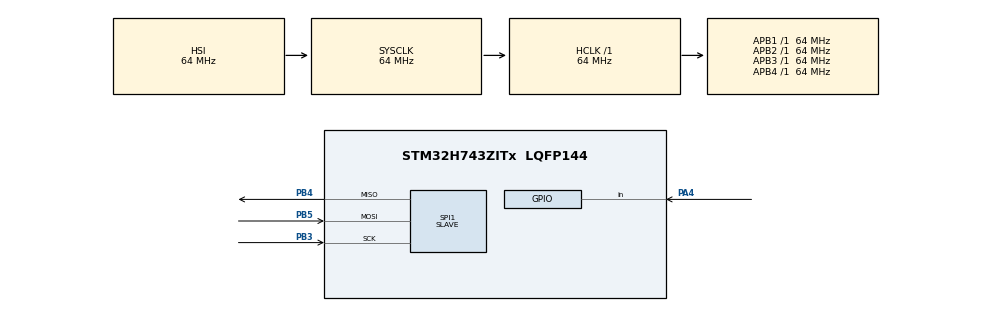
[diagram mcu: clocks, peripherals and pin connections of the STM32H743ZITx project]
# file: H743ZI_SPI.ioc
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Mcu.Family=STM32H7
Mcu.Name=STM32H743ZITx
Mcu.Package=LQFP144
NVIC.PriorityGroup=NVIC_PRIORITYGROUP_4
NVIC.SPI1_IRQn=true\:5\:0\:true\:false\:true\:true\:true\:true
PA4.GPIO_PuPd=GPIO_PULLUP
PA4.Signal=GPIO_Input
PB3\ (JTDO/TRACESWO).Mode=Full_Duplex_Slave
PB3\ (JTDO/TRACESWO).Signal=SPI1_SCK
PB4\ (NJTRST).Mode=Full_Duplex_Slave
PB4\ (NJTRST).Signal=SPI1_MISO
PB5.Mode=Full_Duplex_Slave
PB5.Signal=SPI1_MOSI
ProjectManager.HeapSize=0x200
ProjectManager.StackSize=0x400
ProjectManager.TargetToolchain=STM32CubeIDE
RCC.ADCFreq_Value=129000000
RCC.APB1Freq_Value=64000000
RCC.APB2Freq_Value=64000000
RCC.APB3Freq_Value=64000000
RCC.APB4Freq_Value=64000000
RCC.CortexFreq_Value=64000000
RCC.DIVM1=4
RCC.DIVN1=9
RCC.HCLKFreq_Value=64000000
RCC.PLLFRACN=3072
RCC.SYSCLKFreq_VALUE=64000000
RCC.USBFreq_Value=75000000
SPI1.CRCCalculation=SPI_CRCCALCULATION_ENABLE
SPI1.CRCLength=SPI_CRC_LENGTH_8BIT
SPI1.DataSize=SPI_DATASIZE_8BIT
SPI1.Direction=SPI_DIRECTION_2LINES
SPI1.FifoThreshold=SPI_FIFO_THRESHOLD_08DATA
SPI1.FirstBit=SPI_FIRSTBIT_MSB
SPI1.MasterKeepIOState=SPI_MASTER_KEEP_IO_STATE_ENABLE
SPI1.Mode=SPI_MODE_SLAVE
SPI1.VirtualType=VM_SLAVE
board=custom

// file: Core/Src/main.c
/* USER CODE BEGIN Header */
/**
  ******************************************************************************
  * @file           : main.c
  * @brief          : Main program body
  ******************************************************************************
  * @attention
  *
  * Copyright (c) 2026 STMicroelectronics.
  * All rights reserved.
  *
  * This software is licensed under terms that can be found in the LICENSE file
  * in the root directory of this software component.
  * If no LICENSE file comes with this software, it is provided AS-IS.
  *
  ******************************************************************************
  */
/* USER CODE END Header */
#include "main.h"

SPI_HandleTypeDef hspi1;

/* USER CODE BEGIN PV */
volatile uint8_t dataRx[10] = {0xFF};
volatile uint8_t rxCnt = 0;
/* USER CODE END PV */

void SystemClock_Config(void);
static void MX_GPIO_Init(void);
static void MX_SPI1_Init(void);

int main(void)
{

  /* MCU Configuration--------------------------------------------------------*/

  /* Reset of all peripherals, Initializes the Flash interface and the Systick. */
  HAL_Init();

  /* Configure the system clock */
  SystemClock_Config();

  /* Initialize all configured peripherals */
  MX_GPIO_Init();
  MX_SPI1_Init();
  /* USER CODE BEGIN 2 */

  memset((uint8_t *)dataRx, 0x55, sizeof(dataRx));
  HAL_SPI_Transmit_IT(&hspi1,(uint8_t *) dataRx, sizeof(dataRx));
  //HAL_SPI_Receive_IT(&hspi1,(uint8_t *) dataRx, sizeof(dataRx));
  //HAL_SPI_Receive(&hspi1, (uint8_t *)dataRx, sizeof(dataRx), 10000);
  /* USER CODE END 2 */

  /* Infinite loop */
  /* USER CODE BEGIN WHILE */
  while (1)
  {
	  //HAL_SPI_Receive(&hspi1, dataRx, sizeof(dataRx), 100);
	  if(rxCnt == 1)
	  {
		  rxCnt = 0;
		  HAL_Delay(100);
		  memset((uint8_t *)dataRx, 0x55, sizeof(dataRx));
		  HAL_SPI_Transmit_IT(&hspi1,(uint8_t *) dataRx, sizeof(dataRx));
		  //HAL_SPI_Receive_IT(&hspi1, (uint8_t *)dataRx, sizeof(dataRx));
	  }
    /* USER CODE END WHILE */

  }
}

void SystemClock_Config(void)
{
  RCC_OscInitTypeDef RCC_OscInitStruct = {0};
  RCC_ClkInitTypeDef RCC_ClkInitStruct = {0};

  /** Supply configuration update enable
  */
  HAL_PWREx_ConfigSupply(PWR_LDO_SUPPLY);

  /** Configure the main internal regulator output voltage
  */
  __HAL_PWR_VOLTAGESCALING_CONFIG(PWR_REGULATOR_VOLTAGE_SCALE3);

  while(!__HAL_PWR_GET_FLAG(PWR_FLAG_VOSRDY)) {}

  /** Initializes the RCC Oscillators according to the specified parameters
  * in the RCC_OscInitTypeDef structure.
  */
  RCC_OscInitStruct.OscillatorType = RCC_OSCILLATORTYPE_HSI;
  RCC_OscInitStruct.HSIState = RCC_HSI_DIV1;
  RCC_OscInitStruct.HSICalibrationValue = RCC_HSICALIBRATION_DEFAULT;
  RCC_OscInitStruct.PLL.PLLState = RCC_PLL_ON;
  RCC_OscInitStruct.PLL.PLLSource = RCC_PLLSOURCE_HSI;
  RCC_OscInitStruct.PLL.PLLM = 4;
  RCC_OscInitStruct.PLL.PLLN = 9;
  RCC_OscInitStruct.PLL.PLLP = 2;
  RCC_OscInitStruct.PLL.PLLQ = 2;
  RCC_OscInitStruct.PLL.PLLR = 2;
  RCC_OscInitStruct.PLL.PLLRGE = RCC_PLL1VCIRANGE_3;
  RCC_OscInitStruct.PLL.PLLVCOSEL = RCC_PLL1VCOMEDIUM;
  RCC_OscInitStruct.PLL.PLLFRACN = 3072;
  if (HAL_RCC_OscConfig(&RCC_OscInitStruct) != HAL_OK)
  {
    Error_Handler();
  }

  /** Initializes the CPU, AHB and APB buses clocks
  */
  RCC_ClkInitStruct.ClockType = RCC_CLOCKTYPE_HCLK|RCC_CLOCKTYPE_SYSCLK
                              |RCC_CLOCKTYPE_PCLK1|RCC_CLOCKTYPE_PCLK2
                              |RCC_CLOCKTYPE_D3PCLK1|RCC_CLOCKTYPE_D1PCLK1;
  RCC_ClkInitStruct.SYSCLKSource = RCC_SYSCLKSOURCE_HSI;
  RCC_ClkInitStruct.SYSCLKDivider = RCC_SYSCLK_DIV1;
  RCC_ClkInitStruct.AHBCLKDivider = RCC_HCLK_DIV1;
  RCC_ClkInitStruct.APB3CLKDivider = RCC_APB3_DIV1;
  RCC_ClkInitStruct.APB1CLKDivider = RCC_APB1_DIV1;
  RCC_ClkInitStruct.APB2CLKDivider = RCC_APB2_DIV1;
  RCC_ClkInitStruct.APB4CLKDivider = RCC_APB4_DIV1;

  if (HAL_RCC_ClockConfig(&RCC_ClkInitStruct, FLASH_LATENCY_1) != HAL_OK)
  {
    Error_Handler();
  }
}

static void MX_SPI1_Init(void)
{

  /* SPI1 parameter configuration*/
  hspi1.Instance = SPI1;
  hspi1.Init.Mode = SPI_MODE_SLAVE;
  hspi1.Init.Direction = SPI_DIRECTION_2LINES;
  hspi1.Init.DataSize = SPI_DATASIZE_8BIT;
  hspi1.Init.CLKPolarity = SPI_POLARITY_LOW;
  hspi1.Init.CLKPhase = SPI_PHASE_1EDGE;
  hspi1.Init.NSS = SPI_NSS_SOFT;
  hspi1.Init.FirstBit = SPI_FIRSTBIT_MSB;
  hspi1.Init.TIMode = SPI_TIMODE_DISABLE;
  hspi1.Init.CRCCalculation = SPI_CRCCALCULATION_DISABLE;
  hspi1.Init.CRCPolynomial = 0x107;
  hspi1.Init.CRCLength = SPI_CRC_LENGTH_8BIT;
  hspi1.Init.NSSPMode = SPI_NSS_PULSE_DISABLE;
  hspi1.Init.NSSPolarity = SPI_NSS_POLARITY_LOW;
  hspi1.Init.FifoThreshold = SPI_FIFO_THRESHOLD_08DATA;
  hspi1.Init.TxCRCInitializationPattern = SPI_CRC_INITIALIZATION_ALL_ZERO_PATTERN;
  hspi1.Init.RxCRCInitializationPattern = SPI_CRC_INITIALIZATION_ALL_ZERO_PATTERN;
  hspi1.Init.MasterSSIdleness = SPI_MASTER_SS_IDLENESS_00CYCLE;
  hspi1.Init.MasterInterDataIdleness = SPI_MASTER_INTERDATA_IDLENESS_00CYCLE;
  hspi1.Init.MasterReceiverAutoSusp = SPI_MASTER_RX_AUTOSUSP_DISABLE;
  hspi1.Init.MasterKeepIOState = SPI_MASTER_KEEP_IO_STATE_ENABLE;
  hspi1.Init.IOSwap = SPI_IO_SWAP_DISABLE;
  if (HAL_SPI_Init(&hspi1) != HAL_OK)
  {
    Error_Handler();
  }

}

static void MX_GPIO_Init(void)
{
  GPIO_InitTypeDef GPIO_InitStruct = {0};

  /* GPIO Ports Clock Enable */
  __HAL_RCC_GPIOA_CLK_ENABLE();
  __HAL_RCC_GPIOB_CLK_ENABLE();

  /*Configure GPIO pin : PA4 */
  GPIO_InitStruct.Pin = GPIO_PIN_4;
  GPIO_InitStruct.Mode = GPIO_MODE_INPUT;
  GPIO_InitStruct.Pull = GPIO_PULLUP;
  HAL_GPIO_Init(GPIOA, &GPIO_InitStruct);

}

/* USER CODE BEGIN 4 */
void HAL_SPI_RxCpltCallback(SPI_HandleTypeDef *hspi)
{
	if((SPI_HandleTypeDef *)&hspi->Instance == (SPI_HandleTypeDef *)&hspi1.Instance)
	{
		rxCnt = 1;
	}
}

void HAL_SPI_TxCpltCallback(SPI_HandleTypeDef *hspi)
{
	if((SPI_HandleTypeDef *)&hspi->Instance == (SPI_HandleTypeDef *)&hspi1.Instance)
	{
		rxCnt = 1;
	}
}
/* USER CODE END 4 */

void Error_Handler(void)
{
  __disable_irq();
  while (1)
  {
  }
}
